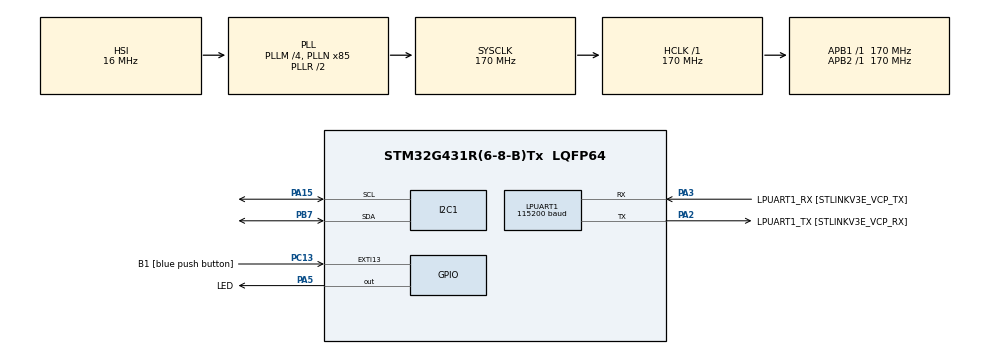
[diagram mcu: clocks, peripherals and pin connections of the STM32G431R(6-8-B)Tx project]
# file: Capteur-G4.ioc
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I2C1.Timing=0x30A0A7FB
LPUART1.BaudRate=115200
Mcu.Family=STM32G4
Mcu.Name=STM32G431R(6-8-B)Tx
Mcu.Package=LQFP64
NVIC.PriorityGroup=NVIC_PRIORITYGROUP_4
PA13.GPIO_Label=T_SWDIO
PA13.Signal=SYS_JTMS-SWDIO
PA14.GPIO_Label=T_SWCLK
PA14.Signal=SYS_JTCK-SWCLK
PA15.Mode=I2C
PA15.Signal=I2C1_SCL
PA2.GPIO_Label=LPUART1_TX [STLINKV3E_VCP_RX]
PA2.Mode=Asynchronous
PA2.Signal=LPUART1_TX
PA3.GPIO_Label=LPUART1_RX [STLINKV3E_VCP_TX]
PA3.Mode=Asynchronous
PA3.Signal=LPUART1_RX
PA5.GPIO_Label=LED
PA5.Signal=GPIO_Output
PB3.GPIO_Label=T_SWO
PB3.Signal=SYS_JTDO-SWO
PB7.Mode=I2C
PB7.Signal=I2C1_SDA
PC13.GPIO_Label=B1 [blue push button]
PC13.Signal=GPXTI13
PC14-OSC32_IN.Signal=RCC_OSC32_IN
PC15-OSC32_OUT.Signal=RCC_OSC32_OUT
PF0-OSC_IN.Signal=RCC_OSC_IN
PF1-OSC_OUT.Signal=RCC_OSC_OUT
ProjectManager.HeapSize=0x200
ProjectManager.StackSize=0x400
ProjectManager.TargetToolchain=STM32CubeIDE
RCC.ADC12Freq_Value=170000000
RCC.AHBFreq_Value=170000000
RCC.APB1Freq_Value=170000000
RCC.APB1TimFreq_Value=170000000
RCC.APB2Freq_Value=170000000
RCC.APB2TimFreq_Value=170000000
RCC.CortexFreq_Value=170000000
RCC.EXTERNAL_CLOCK_VALUE=12288000
RCC.HCLKFreq_Value=170000000
RCC.HSE_VALUE=24000000
RCC.HSI48_VALUE=48000000
RCC.HSI_VALUE=16000000
RCC.LSE_VALUE=32768
RCC.PLLM=RCC_PLLM_DIV4
RCC.PLLN=85
RCC.RTCClockSelection=RCC_RTCCLKSOURCE_LSE
RCC.SYSCLKFreq_VALUE=170000000
RCC.SYSCLKSource=RCC_SYSCLKSOURCE_PLLCLK
RCC.USBFreq_Value=170000000
RCC.VCOOutputFreq_Value=340000000
VP_SYS_VS_DBSignals.Mode=DisableDeadBatterySignals
board=NUCLEO-G431RB

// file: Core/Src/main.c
/* USER CODE BEGIN Header */
/**
  ******************************************************************************
  * @file           : main.c
  * @author			: CHAPUIS Clément & SUTRA Aurélien
  * @brief          : Main program body
  ******************************************************************************
  * @attention
  *
  * Copyright (c) 2022 STMicroelectronics.
  * All rights reserved.
  *
  * This software is licensed under terms that can be found in the LICENSE file
  * in the root directory of this software component.
  * If no LICENSE file comes with this software, it is provided AS-IS.
  *
  ******************************************************************************
  */
/* USER CODE END Header */
#include "main.h"

/* USER CODE BEGIN Includes */
#include <stdio.h>
#include <stdlib.h>
#include "Const.h"
/* USER CODE END Includes */

I2C_HandleTypeDef hi2c1;
UART_HandleTypeDef hlpuart1;

/* USER CODE BEGIN PV */
uint8_t ret;
uint8_t	MemAddress = 0;
uint8_t BufferId[25] = {0};
uint8_t BufferScan[25] = {0};
uint8_t StartMSG[] = "_______\r\n Scanne de l'I2C : \r\n\r\n";
uint8_t EndMSG[] = "\r\n Fini ! \r\n\r\n";
char mess;
double temp[16];
/* USER CODE END PV */

void SystemClock_Config(void);
static void MX_GPIO_Init(void);
static void MX_I2C1_Init(void);
static void MX_LPUART1_UART_Init(void);

/* USER CODE BEGIN 0 */
/**
  * @brief  	This function makes a scan of the module and print the addresses from its registers
  * @retval 	void but print the addresses from the module registers
*/
void I2C_Scan()
{
	HAL_UART_Transmit(&hlpuart1, StartMSG, sizeof(StartMSG), HAL_MAX_DELAY);
	for(uint8_t i=1; i<255; i++)
	{
	ret = HAL_I2C_IsDeviceReady(&hi2c1, (uint16_t)(i<<1), 2, 2);
		if(ret == HAL_OK)
		{
			printf("0x%X \r\n", i);
			HAL_UART_Transmit(&hlpuart1, BufferScan, sizeof(BufferScan), HAL_MAX_DELAY);
		}
	}
	HAL_UART_Transmit(&hlpuart1, EndMSG, sizeof(EndMSG), HAL_MAX_DELAY);
}

/**
  * @brief  	This function find the ID of the module to confirm all is ok for the user
  * @retval 	void but print the ID of the module
*/
void I2C_ID()
{
	HAL_I2C_Mem_Read(&hi2c1, MPU_ADD, MemAddress, 1, BufferId, 1, HAL_MAX_DELAY);
	printf("ID = %d\r\n", BufferId);
	HAL_UART_Transmit(&hlpuart1, BufferId, sizeof(BufferId), HAL_MAX_DELAY);
}
/* USER CODE END 0 */

int main(void)
{

  /* MCU Configuration--------------------------------------------------------*/

  /* Reset of all peripherals, Initializes the Flash interface and the Systick. */
  HAL_Init();

  /* Configure the system clock */
  SystemClock_Config();

  /* Initialize all configured peripherals */
  MX_GPIO_Init();
  MX_I2C1_Init();
  MX_LPUART1_UART_Init();
  /* USER CODE BEGIN 2 */
  HAL_GPIO_WritePin(LED_GPIO_Port, LED_Pin, GPIO_PIN_SET);
  HAL_Delay(1000);
  HAL_GPIO_WritePin(LED_GPIO_Port, LED_Pin, GPIO_PIN_RESET);

  I2C_Scan();

  I2C_ID();

  Init(&hi2c1);
  /* USER CODE END 2 */

  /* Infinite loop */
  /* USER CODE BEGIN WHILE */
  while (1)
  {
	Measure_T(&hi2c1, temp);
	HAL_Delay(1000);
    /* USER CODE END WHILE */

  }
}

void SystemClock_Config(void)
{
  RCC_OscInitTypeDef RCC_OscInitStruct = {0};
  RCC_ClkInitTypeDef RCC_ClkInitStruct = {0};

  /** Configure the main internal regulator output voltage
  */
  HAL_PWREx_ControlVoltageScaling(PWR_REGULATOR_VOLTAGE_SCALE1_BOOST);

  /** Initializes the RCC Oscillators according to the specified parameters
  * in the RCC_OscInitTypeDef structure.
  */
  RCC_OscInitStruct.OscillatorType = RCC_OSCILLATORTYPE_HSI;
  RCC_OscInitStruct.HSIState = RCC_HSI_ON;
  RCC_OscInitStruct.HSICalibrationValue = RCC_HSICALIBRATION_DEFAULT;
  RCC_OscInitStruct.PLL.PLLState = RCC_PLL_ON;
  RCC_OscInitStruct.PLL.PLLSource = RCC_PLLSOURCE_HSI;
  RCC_OscInitStruct.PLL.PLLM = RCC_PLLM_DIV4;
  RCC_OscInitStruct.PLL.PLLN = 85;
  RCC_OscInitStruct.PLL.PLLP = RCC_PLLP_DIV2;
  RCC_OscInitStruct.PLL.PLLQ = RCC_PLLQ_DIV2;
  RCC_OscInitStruct.PLL.PLLR = RCC_PLLR_DIV2;
  if (HAL_RCC_OscConfig(&RCC_OscInitStruct) != HAL_OK)
  {
    Error_Handler();
  }

  /** Initializes the CPU, AHB and APB buses clocks
  */
  RCC_ClkInitStruct.ClockType = RCC_CLOCKTYPE_HCLK|RCC_CLOCKTYPE_SYSCLK
                              |RCC_CLOCKTYPE_PCLK1|RCC_CLOCKTYPE_PCLK2;
  RCC_ClkInitStruct.SYSCLKSource = RCC_SYSCLKSOURCE_PLLCLK;
  RCC_ClkInitStruct.AHBCLKDivider = RCC_SYSCLK_DIV1;
  RCC_ClkInitStruct.APB1CLKDivider = RCC_HCLK_DIV1;
  RCC_ClkInitStruct.APB2CLKDivider = RCC_HCLK_DIV1;

  if (HAL_RCC_ClockConfig(&RCC_ClkInitStruct, FLASH_LATENCY_4) != HAL_OK)
  {
    Error_Handler();
  }
}

static void MX_I2C1_Init(void)
{

  hi2c1.Instance = I2C1;
  hi2c1.Init.Timing = 0x30A0A7FB;
  hi2c1.Init.OwnAddress1 = 0;
  hi2c1.Init.AddressingMode = I2C_ADDRESSINGMODE_7BIT;
  hi2c1.Init.DualAddressMode = I2C_DUALADDRESS_DISABLE;
  hi2c1.Init.OwnAddress2 = 0;
  hi2c1.Init.OwnAddress2Masks = I2C_OA2_NOMASK;
  hi2c1.Init.GeneralCallMode = I2C_GENERALCALL_DISABLE;
  hi2c1.Init.NoStretchMode = I2C_NOSTRETCH_DISABLE;
  if (HAL_I2C_Init(&hi2c1) != HAL_OK)
  {
    Error_Handler();
  }

  /** Configure Analogue filter
  */
  if (HAL_I2CEx_ConfigAnalogFilter(&hi2c1, I2C_ANALOGFILTER_ENABLE) != HAL_OK)
  {
    Error_Handler();
  }

  /** Configure Digital filter
  */
  if (HAL_I2CEx_ConfigDigitalFilter(&hi2c1, 0) != HAL_OK)
  {
    Error_Handler();
  }

}

static void MX_LPUART1_UART_Init(void)
{

  hlpuart1.Instance = LPUART1;
  hlpuart1.Init.BaudRate = 115200;
  hlpuart1.Init.WordLength = UART_WORDLENGTH_8B;
  hlpuart1.Init.StopBits = UART_STOPBITS_1;
  hlpuart1.Init.Parity = UART_PARITY_NONE;
  hlpuart1.Init.Mode = UART_MODE_TX_RX;
  hlpuart1.Init.HwFlowCtl = UART_HWCONTROL_NONE;
  hlpuart1.Init.OneBitSampling = UART_ONE_BIT_SAMPLE_DISABLE;
  hlpuart1.Init.ClockPrescaler = UART_PRESCALER_DIV1;
  hlpuart1.AdvancedInit.AdvFeatureInit = UART_ADVFEATURE_NO_INIT;
  if (HAL_UART_Init(&hlpuart1) != HAL_OK)
  {
    Error_Handler();
  }
  if (HAL_UARTEx_SetTxFifoThreshold(&hlpuart1, UART_TXFIFO_THRESHOLD_1_8) != HAL_OK)
  {
    Error_Handler();
  }
  if (HAL_UARTEx_SetRxFifoThreshold(&hlpuart1, UART_RXFIFO_THRESHOLD_1_8) != HAL_OK)
  {
    Error_Handler();
  }
  if (HAL_UARTEx_DisableFifoMode(&hlpuart1) != HAL_OK)
  {
    Error_Handler();
  }

}

static void MX_GPIO_Init(void)
{
  GPIO_InitTypeDef GPIO_InitStruct = {0};

  /* GPIO Ports Clock Enable */
  __HAL_RCC_GPIOC_CLK_ENABLE();
  __HAL_RCC_GPIOF_CLK_ENABLE();
  __HAL_RCC_GPIOA_CLK_ENABLE();
  __HAL_RCC_GPIOB_CLK_ENABLE();

  /*Configure GPIO pin Output Level */
  HAL_GPIO_WritePin(LED_GPIO_Port, LED_Pin, GPIO_PIN_RESET);

  /*Configure GPIO pin : B1_Pin */
  GPIO_InitStruct.Pin = B1_Pin;
  GPIO_InitStruct.Mode = GPIO_MODE_IT_RISING;
  GPIO_InitStruct.Pull = GPIO_NOPULL;
  HAL_GPIO_Init(B1_GPIO_Port, &GPIO_InitStruct);

  /*Configure GPIO pin : LED_Pin */
  GPIO_InitStruct.Pin = LED_Pin;
  GPIO_InitStruct.Mode = GPIO_MODE_OUTPUT_PP;
  GPIO_InitStruct.Pull = GPIO_NOPULL;
  GPIO_InitStruct.Speed = GPIO_SPEED_FREQ_LOW;
  HAL_GPIO_Init(LED_GPIO_Port, &GPIO_InitStruct);

}

void Error_Handler(void)
{
  __disable_irq();
  while (1)
  {
  }
}
